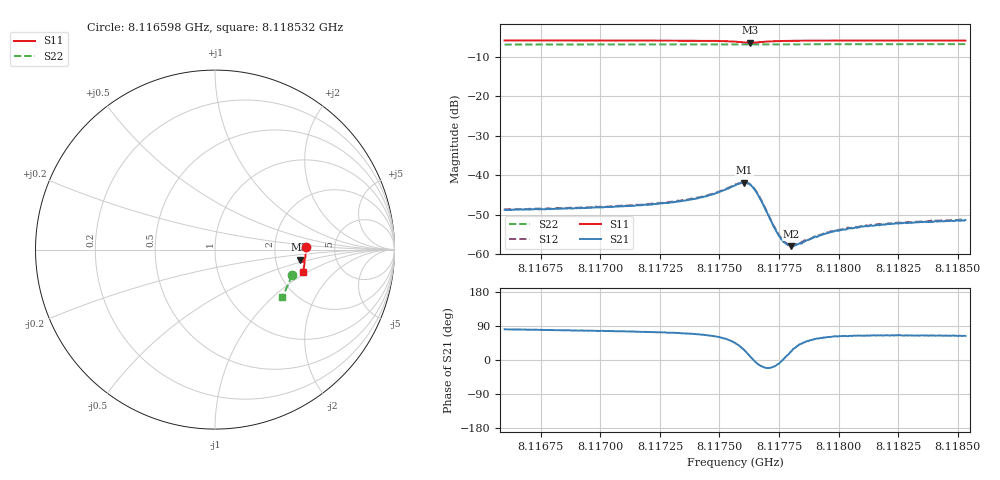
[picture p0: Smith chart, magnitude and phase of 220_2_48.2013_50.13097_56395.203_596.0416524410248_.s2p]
#  HZ  S  RI  R  50.00
! Rohde & Schwarz Vector Network Analyzer
! Rohde-Schwarz,ZNB20-2Port,1311601062101988,3.16
! Created: UTC 3/20/2024, 11:45:54 AM
! freq[Hz]  re:S11  im:S11  re:S21  im:S21  re:S12  im:S12  re:S22  im:S22
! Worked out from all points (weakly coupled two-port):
!   401 points, 8.116598 GHz to 8.118532 GHz, reference 50 ohm
!   highest |S21| = -41.90 dB at 8.117604 GHz (marker M1); lowest = -58.0 dB at 8.117802 GHz (marker M2)
!   lowest |S11| = -6.5 dB at 8.117628 GHz (marker M3), VSWR 2.81, Z = 137 - j20 ohm
!   |S11| at or under -10 dB: nowhere
!   |S22| runs from -6.9 to -6.8 dB; largest |S21 - S12| = 0.00021
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8.1165984e9  0.5065 0.0136  0.000559 0.00361  0.000673 0.00364  0.4268 -0.1425
8.1169223e9  0.5062 -0.0112  0.000816 0.00377  0.000896 0.0038  0.42 -0.1638
8.1171301e9  0.505 -0.0278  0.00105 0.00394  0.00111 0.00401  0.415 -0.1776
8.1172461e9  0.5038 -0.0373  0.00125 0.00417  0.0013 0.00427  0.4121 -0.1851
8.117338e9  0.5024 -0.0456  0.00155 0.0044  0.00162 0.0045  0.4094 -0.191
8.1174201e9  0.5 -0.0536  0.002 0.00481  0.00212 0.00487  0.4073 -0.1966
8.117483e9  0.4967 -0.0606  0.00273 0.00522  0.00285 0.00525  0.4053 -0.2005
8.1175652e9  0.4847 -0.0688  0.00526 0.00526  0.0054 0.00533  0.4024 -0.2056
8.1176038e9  0.4742 -0.0651  0.0072 0.00356  0.00739 0.00354  0.4011 -0.2076
8.117628e9  0.4713 -0.0567  0.00749 0.0013  0.00761 0.00127  0.4002 -0.2087
8.1176425e9  0.4729 -0.0515  0.0069 2.77e-05  0.007 -7.13e-05  0.4 -0.2094
8.1176618e9  0.4782 -0.047  0.00551 -0.00108  0.00567 -0.00118  0.3997 -0.2104
8.1177247e9  0.4931 -0.0508  0.00221 -0.000723  0.00221 -0.000788  0.3985 -0.2145
8.1177585e9  0.4963 -0.0557  0.00155 -0.000117  0.00161 -0.00014  0.3976 -0.2168
8.1177778e9  0.4973 -0.0583  0.00135 0.000203  0.00139 0.000176  0.397 -0.2181
8.117802e9  0.498 -0.0615  0.00117 0.000483  0.00123 0.000522  0.3963 -0.2196
8.1178359e9  0.4986 -0.0655  0.00103 0.000906  0.00103 0.00088  0.3953 -0.2219
8.117889e9  0.4988 -0.0712  0.00095 0.00129  0.000965 0.00126  0.3936 -0.2252
8.117947e9  0.4985 -0.0767  0.000924 0.00159  0.000975 0.00161  0.3917 -0.229
8.1180389e9  0.4976 -0.0849  0.000969 0.00187  0.000999 0.00193  0.3886 -0.2346
8.1182129e9  0.4951 -0.099  0.00103 0.00216  0.00107 0.00221  0.3826 -0.2453
8.1185319e9  0.4896 -0.1231  0.00121 0.00242  0.00121 0.00244  0.3708 -0.2645
